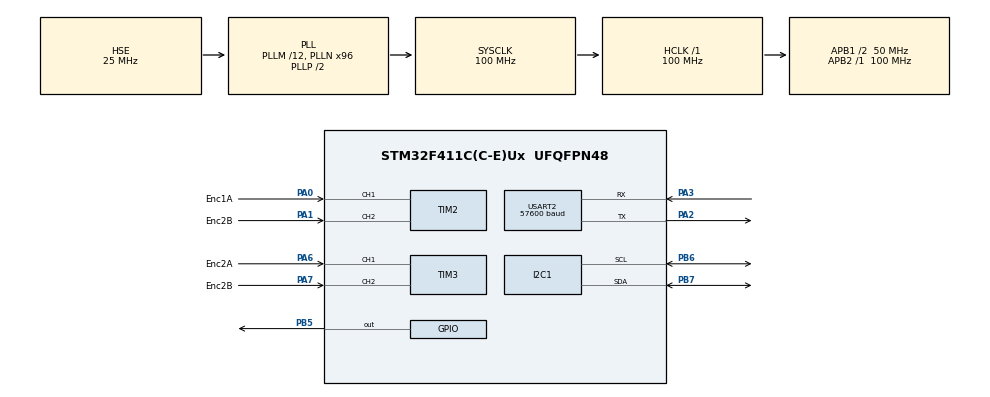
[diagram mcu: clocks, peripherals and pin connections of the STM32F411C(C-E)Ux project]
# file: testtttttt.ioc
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Dma.Request0=USART2_RX
Dma.Request1=USART2_TX
Dma.USART2_RX.0.Direction=DMA_PERIPH_TO_MEMORY
Dma.USART2_RX.0.FIFOMode=DMA_FIFOMODE_DISABLE
Dma.USART2_RX.0.Instance=DMA1_Stream5
Dma.USART2_RX.0.MemDataAlignment=DMA_MDATAALIGN_BYTE
Dma.USART2_RX.0.MemInc=DMA_MINC_ENABLE
Dma.USART2_RX.0.Mode=DMA_CIRCULAR
Dma.USART2_RX.0.PeriphDataAlignment=DMA_PDATAALIGN_BYTE
Dma.USART2_RX.0.PeriphInc=DMA_PINC_DISABLE
Dma.USART2_RX.0.Priority=DMA_PRIORITY_LOW
Dma.USART2_TX.1.Direction=DMA_MEMORY_TO_PERIPH
Dma.USART2_TX.1.FIFOMode=DMA_FIFOMODE_DISABLE
Dma.USART2_TX.1.Instance=DMA1_Stream6
Dma.USART2_TX.1.MemDataAlignment=DMA_MDATAALIGN_BYTE
Dma.USART2_TX.1.MemInc=DMA_MINC_ENABLE
Dma.USART2_TX.1.Mode=DMA_NORMAL
Dma.USART2_TX.1.PeriphDataAlignment=DMA_PDATAALIGN_BYTE
Dma.USART2_TX.1.PeriphInc=DMA_PINC_DISABLE
Dma.USART2_TX.1.Priority=DMA_PRIORITY_LOW
Mcu.Family=STM32F4
Mcu.Name=STM32F411C(C-E)Ux
Mcu.Package=UFQFPN48
NVIC.DMA1_Stream5_IRQn=true\:0\:0\:false\:false\:true\:false\:true\:true
NVIC.DMA1_Stream6_IRQn=true\:0\:0\:false\:false\:true\:false\:true\:true
NVIC.PriorityGroup=NVIC_PRIORITYGROUP_4
NVIC.TIM1_BRK_TIM9_IRQn=true\:0\:0\:false\:false\:true\:true\:true\:true
NVIC.TIM1_CC_IRQn=true\:0\:0\:false\:false\:true\:true\:true\:true
NVIC.TIM1_TRG_COM_TIM11_IRQn=true\:0\:0\:false\:false\:true\:true\:true\:true
NVIC.TIM1_UP_TIM10_IRQn=true\:0\:0\:false\:false\:true\:true\:true\:true
NVIC.USART2_IRQn=true\:0\:0\:false\:false\:true\:true\:true\:true
PA0-WKUP.GPIO_Label=Enc1A
PA0-WKUP.GPIO_ModeDefaultPP=GPIO_MODE_AF_PP
PA0-WKUP.GPIO_PuPd=GPIO_NOPULL
PA0-WKUP.GPIO_Speed=GPIO_SPEED_FREQ_LOW
PA0-WKUP.Signal=S_TIM2_CH1_ETR
PA1.GPIO_Label=Enc2B
PA1.GPIO_ModeDefaultPP=GPIO_MODE_AF_PP
PA1.GPIO_PuPd=GPIO_NOPULL
PA1.GPIO_Speed=GPIO_SPEED_FREQ_LOW
PA1.Signal=S_TIM2_CH2
PA13.Mode=Serial_Wire
PA13.Signal=SYS_JTMS-SWDIO
PA14.Mode=Serial_Wire
PA14.Signal=SYS_JTCK-SWCLK
PA2.Mode=Asynchronous
PA2.Signal=USART2_TX
PA3.Mode=Asynchronous
PA3.Signal=USART2_RX
PA6.GPIO_Label=Enc2A
PA6.Signal=S_TIM3_CH1
PA7.GPIO_Label=Enc2B
PA7.Signal=S_TIM3_CH2
PB5.Signal=GPIO_Output
PB6.Mode=I2C
PB6.Signal=I2C1_SCL
PB7.Mode=I2C
PB7.Signal=I2C1_SDA
PH0\ -\ OSC_IN.Mode=HSE-External-Oscillator
PH0\ -\ OSC_IN.Signal=RCC_OSC_IN
PH1\ -\ OSC_OUT.Mode=HSE-External-Oscillator
PH1\ -\ OSC_OUT.Signal=RCC_OSC_OUT
ProjectManager.HeapSize=0x200
ProjectManager.StackSize=0x400
ProjectManager.TargetToolchain=STM32CubeIDE
RCC.48MHZClocksFreq_Value=50000000
RCC.AHBFreq_Value=100000000
RCC.APB1CLKDivider=RCC_HCLK_DIV2
RCC.APB1Freq_Value=50000000
RCC.APB1TimFreq_Value=100000000
RCC.APB2Freq_Value=100000000
RCC.APB2TimFreq_Value=100000000
RCC.CortexFreq_Value=100000000
RCC.HCLKFreq_Value=100000000
RCC.HSE_VALUE=25000000
RCC.HSI_VALUE=16000000
RCC.LSE_VALUE=32768
RCC.PLLM=12
RCC.PLLN=96
RCC.PLLSourceVirtual=RCC_PLLSOURCE_HSE
RCC.SYSCLKFreq_VALUE=100000000
RCC.SYSCLKSource=RCC_SYSCLKSOURCE_PLLCLK
RCC.VCOOutputFreq_Value=200000000
SH.S_TIM2_CH1_ETR.0=TIM2_CH1,Encoder_Interface
SH.S_TIM2_CH2.0=TIM2_CH2,Encoder_Interface
SH.S_TIM3_CH1.0=TIM3_CH1,Encoder_Interface
SH.S_TIM3_CH2.0=TIM3_CH2,Encoder_Interface
TIM1.Period=1000
TIM1.Prescaler=100-1
USART2.BaudRate=57600
USART2.VirtualMode=VM_ASYNC
VP_TIM1_VS_ClockSourceINT.Mode=Internal
board=custom

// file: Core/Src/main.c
/* USER CODE BEGIN Header */
/**
  ******************************************************************************
  * @file           : main.c
  * @brief          : Main program body
  ******************************************************************************
  * @attention
  *
  * Copyright (c) 2024 STMicroelectronics.
  * All rights reserved.
  *
  * This software is licensed under terms that can be found in the LICENSE file
  * in the root directory of this software component.
  * If no LICENSE file comes with this software, it is provided AS-IS.
  *
  ******************************************************************************
  */
/* USER CODE END Header */
#include "main.h"
#include "dma.h"
#include "i2c.h"
#include "tim.h"
#include "usart.h"
#include "gpio.h"

/* USER CODE BEGIN Includes */

#include "bno055_stm32.h"
#include <mainpp.h>

float x, y, z, w;
short enc1 = 0, enc2 = 0;

extern struct Magnetometer{
	float x,y,z;
}bno;

/* USER CODE END Includes */

void SystemClock_Config(void);

int main(void)
{

  /* USER CODE BEGIN 1 */

	uint32_t currenTick = HAL_GetTick();

  /* USER CODE END 1 */

  /* MCU Configuration--------------------------------------------------------*/

  /* Reset of all peripherals, Initializes the Flash interface and the Systick. */
  HAL_Init();

  /* Configure the system clock */
  SystemClock_Config();

  /* Initialize all configured peripherals */
  MX_GPIO_Init();
  MX_DMA_Init();
  MX_I2C1_Init();
  MX_TIM1_Init();
  MX_TIM2_Init();
  MX_TIM3_Init();
  MX_USART2_UART_Init();
  /* USER CODE BEGIN 2 */

  HAL_TIM_Base_Start_IT(&htim1);
  HAL_TIM_Encoder_Start(&htim2, TIM_CHANNEL_ALL);
  HAL_TIM_Encoder_Start(&htim3, TIM_CHANNEL_ALL);

  bno055_assignI2C(&hi2c1);
  bno055_setup();
  bno055_setOperationModeNDOF();
  setup();

  /* USER CODE END 2 */

  /* Infinite loop */
  while (1)
  {

    /* USER CODE BEGIN 3 */

	  	  bno055_vector_t v = bno055_getVectorMagnetometer();
		x = v.x;
		y = v.y;
		z = v.z;
		w = v.w;

//		rx_ros(x, y, z);

		bno.x = x;

	  if(HAL_GetTick()-currenTick>10){
		  loop();
		  currenTick = HAL_GetTick();

	  }

  }
  /* USER CODE END 3 */
}

void SystemClock_Config(void)
{
  RCC_OscInitTypeDef RCC_OscInitStruct = {0};
  RCC_ClkInitTypeDef RCC_ClkInitStruct = {0};

  /** Configure the main internal regulator output voltage
  */
  __HAL_RCC_PWR_CLK_ENABLE();
  __HAL_PWR_VOLTAGESCALING_CONFIG(PWR_REGULATOR_VOLTAGE_SCALE1);

  /** Initializes the RCC Oscillators according to the specified parameters
  * in the RCC_OscInitTypeDef structure.
  */
  RCC_OscInitStruct.OscillatorType = RCC_OSCILLATORTYPE_HSE;
  RCC_OscInitStruct.HSEState = RCC_HSE_ON;
  RCC_OscInitStruct.PLL.PLLState = RCC_PLL_ON;
  RCC_OscInitStruct.PLL.PLLSource = RCC_PLLSOURCE_HSE;
  RCC_OscInitStruct.PLL.PLLM = 12;
  RCC_OscInitStruct.PLL.PLLN = 96;
  RCC_OscInitStruct.PLL.PLLP = RCC_PLLP_DIV2;
  RCC_OscInitStruct.PLL.PLLQ = 4;
  if (HAL_RCC_OscConfig(&RCC_OscInitStruct) != HAL_OK)
  {
    Error_Handler();
  }

  /** Initializes the CPU, AHB and APB buses clocks
  */
  RCC_ClkInitStruct.ClockType = RCC_CLOCKTYPE_HCLK|RCC_CLOCKTYPE_SYSCLK
                              |RCC_CLOCKTYPE_PCLK1|RCC_CLOCKTYPE_PCLK2;
  RCC_ClkInitStruct.SYSCLKSource = RCC_SYSCLKSOURCE_PLLCLK;
  RCC_ClkInitStruct.AHBCLKDivider = RCC_SYSCLK_DIV1;
  RCC_ClkInitStruct.APB1CLKDivider = RCC_HCLK_DIV2;
  RCC_ClkInitStruct.APB2CLKDivider = RCC_HCLK_DIV1;

  if (HAL_RCC_ClockConfig(&RCC_ClkInitStruct, FLASH_LATENCY_3) != HAL_OK)
  {
    Error_Handler();
  }
}

/* USER CODE BEGIN 4 */

int cnt = 0;
float xx = 0;
void HAL_TIM_PeriodElapsedCallback(TIM_HandleTypeDef *htim){
	if(htim==&htim1){

//		xx = mag_send.bnoX;
		cnt++;
	}
}

/* USER CODE END 4 */

void Error_Handler(void)
{
  __disable_irq();
  while (1)
  {
  }
}
